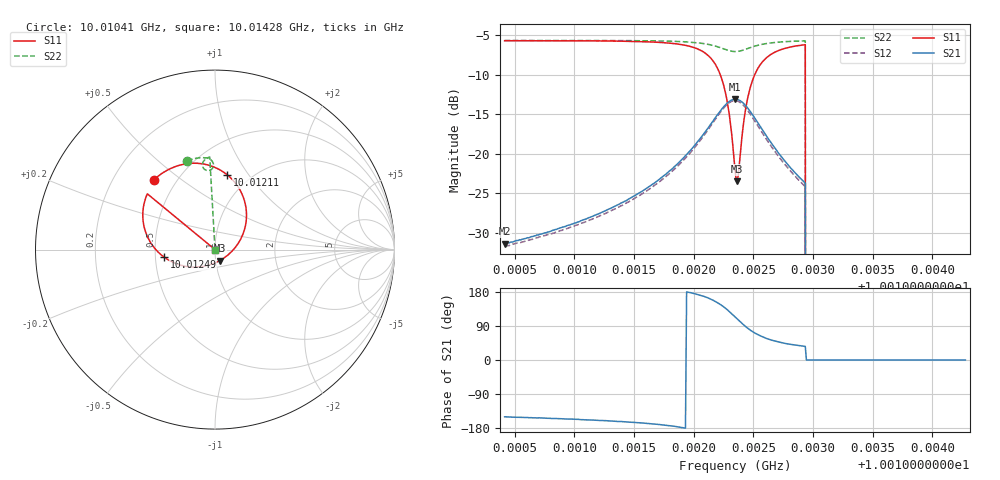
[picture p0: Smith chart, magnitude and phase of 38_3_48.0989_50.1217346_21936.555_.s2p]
#  HZ  S  RI  R  50.00
! Rohde & Schwarz Vector Network Analyzer
! Rohde-Schwarz,ZNB20-2Port,1311601062101988,3.16
! Created: UTC 12/23/2023, 3:38:27 AM
! freq[Hz]  re:S11  im:S11  re:S21  im:S21  re:S12  im:S12  re:S22  im:S22
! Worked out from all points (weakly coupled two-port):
!   401 points, 10.01041 GHz to 10.01428 GHz, reference 50 ohm
!   highest |S21| = -13.11 dB at 10.01235 GHz (marker M1); lowest = -31.4 dB at 10.01041 GHz (marker M2)
!   lowest |S11| = -23.5 dB at 10.01237 GHz (marker M3), VSWR 1.14, Z = 52.2 - j6.5 ohm
!   |S11| at or under -10 dB: 10.01222 GHz to 10.01251 GHz (290.2 kHz wide, 0.0029 % of centre); 10.01294 GHz to end of sweep
!   |S22| runs from - to -5.7 dB; largest |S21 - S12| = 0.01
!   S11 on the Smith chart (normalised r, x): 10.01041 GHz: 0.38, +0.40; 10.01211 GHz: 0.79, +0.80; 10.01249 GHz: 0.55, -0.05; 10.01428 GHz: 1.00, +0.00
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1.0010414e10  -0.3398 0.3904  -0.0233 -0.0134  -0.0218 -0.0141  -0.1555 0.4957
1.0011061e10  -0.2831 0.4326  -0.0349 -0.0144  -0.0327 -0.0157  -0.1118 0.5073
1.0011428e10  -0.2321 0.4584  -0.048 -0.0145  -0.0456 -0.0163  -0.0847 0.5116
1.0011708e10  -0.1673 0.477  -0.0675 -0.0118  -0.0643 -0.0149  -0.0606 0.5125
1.0011969e10  -0.0496 0.4739  -0.1041 0.00375  -0.1007 -0.00193  -0.0329 0.5062
1.0012114e10  0.0686 0.4163  -0.1379 0.0379  -0.1362 0.0302  -0.0151 0.4918
1.0012201e10  0.1505 0.3092  -0.1545 0.0864  -0.1557 0.0766  -0.0086 0.4737
1.0012259e10  0.1755 0.1855  -0.1503 0.1334  -0.1532 0.1242  -0.0116 0.4576
1.0012298e10  0.1558 0.0864  -0.1318 0.1681  -0.1357 0.1603  -0.0197 0.4473
1.0012346e10  0.0738 -0.0286  -0.0893 0.2021  -0.0941 0.1947  -0.0355 0.4406
1.0012365e10  0.0253 -0.062  -0.0681 0.2093  -0.0729 0.2023  -0.0429 0.4406
1.0012385e10  -0.0279 -0.0846  -0.0468 0.2121  -0.0508 0.2053  -0.0497 0.4424
1.0012433e10  -0.1619 -0.0934  0.00399 0.2023  -0.00105 0.1957  -0.0631 0.452
1.0012491e10  -0.2851 -0.0409  0.0451 0.1711  0.0386 0.1658  -0.0697 0.468
1.0012549e10  -0.3551 0.0332  0.0638 0.1379  0.0568 0.1336  -0.0687 0.482
1.0012636e10  -0.3965 0.1336  0.071 0.0978  0.064 0.0956  -0.0611 0.4967
1.0012761e10  -0.3995 0.2328  0.0649 0.0628  0.0591 0.0622  -0.047 0.5082
1.0012916e10  -0.38 0.3042  0.054 0.0401  0.0494 0.0404  -0.0312 0.5152
1.0012964e10  0 0  0 0  0 0  0 0
1.0012993e10  0 0  0 0  0 0  0 0
1.001364e10  0 0  0 0  0 0  0 0
1.0014278e10  0 0  0 0  0 0  0 0
